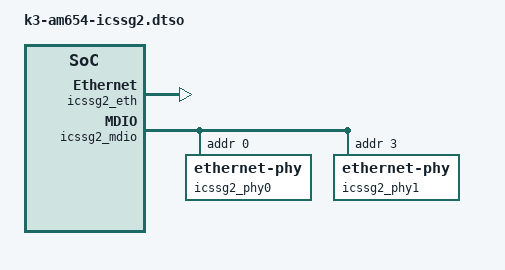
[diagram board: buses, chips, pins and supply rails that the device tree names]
// SPDX-License-Identifier: GPL-2.0
/**
 * DT overlay for IDK application board on AM654 EVM
 *
 * Copyright (C) 2018-2023 Texas Instruments Incorporated - https://www.ti.com/
 */

/dts-v1/;
/plugin/;

#include <dt-bindings/net/ti-dp83867.h>
#include "k3-pinctrl.h"

&{/} {
	aliases {
		ethernet1 = "/icssg2-eth/ethernet-ports/port@0";
		ethernet2 = "/icssg2-eth/ethernet-ports/port@1";
	};

	/* Ethernet node on PRU-ICSSG2 */
	icssg2_eth: icssg2-eth {
		compatible = "ti,am654-icssg-prueth";
		pinctrl-names = "default";
		pinctrl-0 = <&icssg2_rgmii_pins_default>;
		sram = <&msmc_ram>;
		ti,prus = <&pru2_0>, <&rtu2_0>, <&tx_pru2_0>,
			<&pru2_1>, <&rtu2_1>, <&tx_pru2_1>;
		firmware-name = "ti-pruss/am65x-sr2-pru0-prueth-fw.elf",
				"ti-pruss/am65x-sr2-rtu0-prueth-fw.elf",
				"ti-pruss/am65x-sr2-txpru0-prueth-fw.elf",
				"ti-pruss/am65x-sr2-pru1-prueth-fw.elf",
				"ti-pruss/am65x-sr2-rtu1-prueth-fw.elf",
				"ti-pruss/am65x-sr2-txpru1-prueth-fw.elf";

		ti,pruss-gp-mux-sel = <2>,      /* MII mode */
				      <2>,
				      <2>,
				      <2>,	/* MII mode */
				      <2>,
				      <2>;

		ti,mii-g-rt = <&icssg2_mii_g_rt>;
		ti,mii-rt = <&icssg2_mii_rt>;
		ti,iep = <&icssg2_iep0>, <&icssg2_iep1>;

		interrupt-parent = <&icssg2_intc>;
		interrupts = <24 0 2>, <25 1 3>;
		interrupt-names = "tx_ts0", "tx_ts1";

		dmas = <&main_udmap 0xc300>, /* egress slice 0 */
		       <&main_udmap 0xc301>, /* egress slice 0 */
		       <&main_udmap 0xc302>, /* egress slice 0 */
		       <&main_udmap 0xc303>, /* egress slice 0 */
		       <&main_udmap 0xc304>, /* egress slice 1 */
		       <&main_udmap 0xc305>, /* egress slice 1 */
		       <&main_udmap 0xc306>, /* egress slice 1 */
		       <&main_udmap 0xc307>, /* egress slice 1 */
		       <&main_udmap 0x4300>, /* ingress slice 0 */
		       <&main_udmap 0x4301>; /* ingress slice 1 */

		dma-names = "tx0-0", "tx0-1", "tx0-2", "tx0-3",
			    "tx1-0", "tx1-1", "tx1-2", "tx1-3",
			    "rx0", "rx1";
		ethernet-ports {
			#address-cells = <1>;
			#size-cells = <0>;
			icssg2_emac0: port@0 {
				reg = <0>;
				phy-handle = <&icssg2_phy0>;
				phy-mode = "rgmii-id";
				ti,syscon-rgmii-delay = <&scm_conf 0x4120>;
				/* Filled in by bootloader */
				local-mac-address = [00 00 00 00 00 00];
			};
			icssg2_emac1: port@1 {
				reg = <1>;
				phy-handle = <&icssg2_phy1>;
				phy-mode = "rgmii-id";
				ti,syscon-rgmii-delay = <&scm_conf 0x4124>;
				/* Filled in by bootloader */
				local-mac-address = [00 00 00 00 00 00];
			};
		};
	};
};

&main_pmx0 {

	icssg2_mdio_pins_default: icssg2-mdio-default-pins {
		pinctrl-single,pins = <
			AM65X_IOPAD(0x0094, PIN_INPUT, 2) /* (AC19) PRG2_PRU0_GPO7.PRG2_MDIO0_MDIO */
			AM65X_IOPAD(0x00c8, PIN_OUTPUT, 2) /* (AE15) PRG2_PRU1_GPO7.PRG2_MDIO0_MDC */
		>;
	};

	icssg2_rgmii_pins_default: icssg2-rgmii-default-pins {
		pinctrl-single,pins = <
			AM65X_IOPAD(0x00ac, PIN_INPUT, 2) /* (AH15) PRG2_PRU1_GPO0.PRG2_RGMII2_RD0 */
			AM65X_IOPAD(0x00b0, PIN_INPUT, 2) /* (AC16) PRG2_PRU1_GPO1.PRG2_RGMII2_RD1 */
			AM65X_IOPAD(0x00b4, PIN_INPUT, 2) /* (AD17) PRG2_PRU1_GPO2.PRG2_RGMII2_RD2 */
			AM65X_IOPAD(0x00b8, PIN_INPUT, 2) /* (AH14) PRG2_PRU1_GPO3.PRG2_RGMII2_RD3 */
			AM65X_IOPAD(0x00cc, PIN_OUTPUT, 2) /* (AD15) PRG2_PRU1_GPO8.PRG2_RGMII2_TD0 */
			AM65X_IOPAD(0x00d0, PIN_OUTPUT, 2) /* (AF14) PRG2_PRU1_GPO9.PRG2_RGMII2_TD1 */
			AM65X_IOPAD(0x00d4, PIN_OUTPUT, 2) /* (AC15) PRG2_PRU1_GPO10.PRG2_RGMII2_TD2 */
			AM65X_IOPAD(0x00d8, PIN_OUTPUT, 2) /* (AD14) PRG2_PRU1_GPO11.PRG2_RGMII2_TD3 */
			AM65X_IOPAD(0x00dc, PIN_INPUT, 2) /* (AE14) PRG2_PRU1_GPO16.PRG2_RGMII2_TXC */
			AM65X_IOPAD(0x00c4, PIN_OUTPUT, 2) /* (AC17) PRG2_PRU1_GPO6.PRG2_RGMII2_TX_CTL */
			AM65X_IOPAD(0x00c0, PIN_INPUT, 2) /* (AG15) PRG2_PRU1_GPO5.PRG2_RGMII2_RXC */
			AM65X_IOPAD(0x00bc, PIN_INPUT, 2) /* (AG14) PRG2_PRU1_GPO4.PRG2_RGMII2_RX_CTL */

			AM65X_IOPAD(0x0078, PIN_INPUT, 2) /* (AF18) PRG2_PRU0_GPO0.PRG2_RGMII1_RD0 */
			AM65X_IOPAD(0x007c, PIN_INPUT, 2) /* (AE18) PRG2_PRU0_GPO1.PRG2_RGMII1_RD1 */
			AM65X_IOPAD(0x0080, PIN_INPUT, 2) /* (AH17) PRG2_PRU0_GPO2.PRG2_RGMII1_RD2 */
			AM65X_IOPAD(0x0084, PIN_INPUT, 2) /* (AG18) PRG2_PRU0_GPO3.PRG2_RGMII1_RD3 */
			AM65X_IOPAD(0x0098, PIN_OUTPUT, 2) /* (AH16) PRG2_PRU0_GPO8.PRG2_RGMII1_TD0 */
			AM65X_IOPAD(0x009c, PIN_OUTPUT, 2) /* (AG16) PRG2_PRU0_GPO9.PRG2_RGMII1_TD1 */
			AM65X_IOPAD(0x00a0, PIN_OUTPUT, 2) /* (AF16) PRG2_PRU0_GPO10.PRG2_RGMII1_TD2 */
			AM65X_IOPAD(0x00a4, PIN_OUTPUT, 2) /* (AE16) PRG2_PRU0_GPO11.PRG2_RGMII1_TD3 */
			AM65X_IOPAD(0x00a8, PIN_INPUT, 2) /* (AD16) PRG2_PRU0_GPO16.PRG2_RGMII1_TXC */
			AM65X_IOPAD(0x0090, PIN_OUTPUT, 2) /* (AE17) PRG2_PRU0_GPO6.PRG2_RGMII1_TX_CTL */
			AM65X_IOPAD(0x008c, PIN_INPUT, 2) /* (AF17) PRG2_PRU0_GPO5.PRG2_RGMII1_RXC */
			AM65X_IOPAD(0x0088, PIN_INPUT, 2) /* (AG17) PRG2_PRU0_GPO4.PRG2_RGMII1_RX_CTL */
		>;
	};
};

&icssg2_mdio {
	status = "okay";
	pinctrl-names = "default";
	pinctrl-0 = <&icssg2_mdio_pins_default>;
	#address-cells = <1>;
	#size-cells = <0>;

	icssg2_phy0: ethernet-phy@0 {
		reg = <0>;
		ti,rx-internal-delay = <DP83867_RGMIIDCTL_2_00_NS>;
		ti,fifo-depth = <DP83867_PHYCR_FIFO_DEPTH_4_B_NIB>;
	};

	icssg2_phy1: ethernet-phy@3 {
		reg = <3>;
		ti,rx-internal-delay = <DP83867_RGMIIDCTL_2_00_NS>;
		ti,fifo-depth = <DP83867_PHYCR_FIFO_DEPTH_4_B_NIB>;
	};
};
